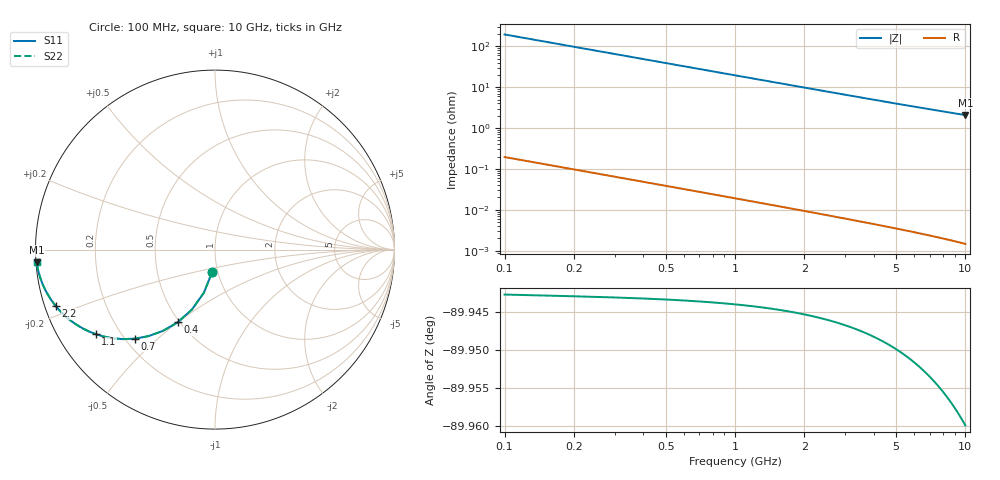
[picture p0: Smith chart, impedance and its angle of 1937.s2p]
# Hz S RI R 50.00
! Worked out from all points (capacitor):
!   100 points, 100 MHz to 10 GHz, reference 50 ohm
!   read as one part in shunt: C = 8.14 pF near 100 MHz
!   lowest |Z| = 2.08 ohm at 10 GHz (marker M1)
!   S11 on the Smith chart (normalised r, x): 100 MHz: 0.94, -0.24; 400 MHz: 0.49, -0.50; 700 MHz: 0.24, -0.43; 1.1 GHz: 0.11, -0.31; 2.2 GHz: 0.03, -0.17; 10 GHz: 0.00, -0.04
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1e8  -0.0162 -0.1258  0.9838 -0.1259  0.9838 -0.1259  -0.0162 -0.1258
2e8  -0.0616 -0.2399  0.9383 -0.2401  0.9383 -0.2401  -0.0616 -0.2399
3e8  -0.1286 -0.3341  0.8714 -0.3345  0.8714 -0.3345  -0.1286 -0.3341
4e8  -0.2077 -0.4049  0.7922 -0.4054  0.7922 -0.4054  -0.2077 -0.4049
5e8  -0.2905 -0.4532  0.7095 -0.4538  0.7095 -0.4538  -0.2905 -0.4532
6e8  -0.3708 -0.4821  0.6292 -0.4829  0.6292 -0.4829  -0.3708 -0.4821
7e8  -0.445 -0.496  0.555 -0.4969  0.555 -0.4969  -0.445 -0.496
8e8  -0.5114 -0.4989  0.4885 -0.4999  0.4885 -0.4999  -0.5114 -0.4989
9e8  -0.5698 -0.494  0.4302 -0.4952  0.4302 -0.4952  -0.5698 -0.494
1.1e9  -0.6641 -0.4711  0.3358 -0.4725  0.3358 -0.4725  -0.6641 -0.4711
1.2e9  -0.7017 -0.4562  0.2982 -0.4577  0.2982 -0.4577  -0.7017 -0.4562
1.4e9  -0.7619 -0.4245  0.238 -0.4263  0.238 -0.4263  -0.7619 -0.4245
1.6e9  -0.8069 -0.3932  0.1931 -0.3952  0.1931 -0.3952  -0.8069 -0.3932
1.8e9  -0.8409 -0.3641  0.159 -0.3664  0.159 -0.3664  -0.8409 -0.3641
2.2e9  -0.8875 -0.314  0.1124 -0.3168  0.1124 -0.3168  -0.8875 -0.314
2.7e9  -0.9223 -0.2654  0.0776 -0.2688  0.0776 -0.2688  -0.9223 -0.2654
3.4e9  -0.9495 -0.2162  0.0504 -0.2205  0.0504 -0.2205  -0.9495 -0.2162
4.2e9  -0.9663 -0.1771  0.0336 -0.1824  0.0336 -0.1824  -0.9663 -0.1771
5.1e9  -0.9769 -0.1462  0.023 -0.1527  0.023 -0.1527  -0.9769 -0.1462
6.7e9  -0.9865 -0.1102  0.0134 -0.1188  0.0134 -0.1188  -0.9865 -0.1102
8.4e9  -0.9914 -0.0858  0.00845 -0.0968  0.00845 -0.0968  -0.9914 -0.0858
1e10  -0.994 -0.0698  0.00588 -0.0829  0.00588 -0.0829  -0.994 -0.0698
